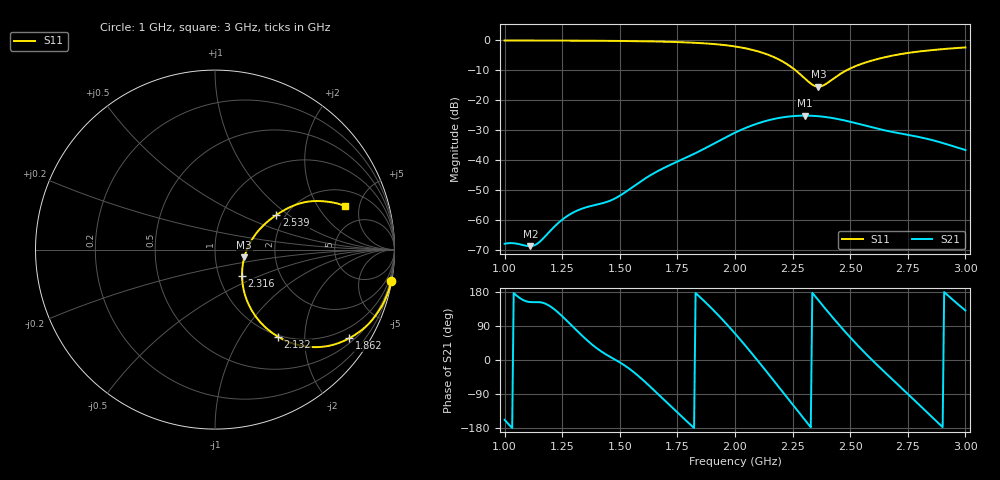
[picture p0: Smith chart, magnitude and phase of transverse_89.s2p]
! TOUCHSTONE file generated by CST MICROWAVE STUDIO
! Date and time: Tue Mar 11 13:56:37 2025
! Project name: transverse.cst
! Parameters = {Fracture=1; B=10; D=160; F=15; Feed=2.85625; L=100; M=20; R=0.384908; S=1; Theta=90; length=57.125; wave=114.25}
! Header version: 2024
! Port assignment regex: !\s*Touchstone port\s*([0-9]+)\s*=\s*(CST MWS port|CST DES external port|CST DES block port)\s*(.+)\s* \(\"(.*)\"\)(\s*mode\s*([0-9]+))?.*
! Touchstone port assignment:
! Touchstone port 1 = CST MWS port 1 ("")
! Touchstone port 2 = CST MWS port 2 ("")
# GHz S MA R 50
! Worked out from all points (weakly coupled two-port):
!   305 points, 1 GHz to 3 GHz, reference 50 ohm
!   highest |S21| = -25.10 dB at 2.303 GHz (marker M1); lowest = -68.7 dB at 1.112 GHz (marker M2)
!   lowest |S11| = -15.4 dB at 2.362 GHz (marker M3), VSWR 1.41, Z = 69.2 - j6.24 ohm
!   |S11| at or under -10 dB: 2.263 GHz to 2.484 GHz (220.7 MHz wide, 9.3 % of centre)
!   S12 and S22 are empty: the file has one direction only
!   S11 on the Smith chart (normalised r, x): 1 GHz: 0, -11; 1.862 GHz: 0.64, -3.20; 2.132 GHz: 0.98, -1.48; 2.316 GHz: 1.29, -0.39; 2.539 GHz: 1.80, +0.82; 3 GHz: 3.09, +3.59
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1  0.9978 -10.0  0.0004051 -157.8  0 0.0  0 0.0
1.03947  0.9971 -10.5  0.0004127 176.7  0 0.0  0 0.0
1.11184  0.996 -11.6  0.0003688 152.9  0 0.0  0 0.0
1.15132  0.9955 -12.2  0.0004327 152.6  0 0.0  0 0.0
1.26316  0.9924 -14.1  0.001113 107.8  0 0.0  0 0.0
1.33553  0.9895 -15.5  0.001557 64.6  0 0.0  0 0.0
1.47368  0.9816 -18.6  0.002252 3.0  0 0.0  0 0.0
1.67105  0.9572 -24.6  0.006797 -93.0  0 0.0  0 0.0
1.86184  0.8956 -33.5  0.01526 158.1  0 0.0  0 0.0
2  0.7926 -43.2  0.02888 69.9  0 0.0  0 0.0
2.13158  0.5996 -54.1  0.04504 -26.5  0 0.0  0 0.0
2.22368  0.4064 -58.9  0.05315 -97.1  0 0.0  0 0.0
2.30263  0.2324 -49.2  0.05559 -157.6  0 0.0  0 0.0
2.31579  0.2093 -44.1  0.05554 -167.6  0 0.0  0 0.0
2.33553  0.1828 -33.5  0.05522 177.4  0 0.0  0 0.0
2.36184  0.1689 -15.0  0.05435 157.7  0 0.0  0 0.0
2.38816  0.1814 2.6  0.05302 138.3  0 0.0  0 0.0
2.44737  0.261 23.2  0.04869 95.7  0 0.0  0 0.0
2.53947  0.3936 29.5  0.04018 34.1  0 0.0  0 0.0
2.67105  0.5449 28.4  0.03033 -44.3  0 0.0  0 0.0
2.84211  0.6809 23.1  0.02239 -143.2  0 0.0  0 0.0
3  0.7634 18.5  0.01482 130.8  0 0.0  0 0.0
